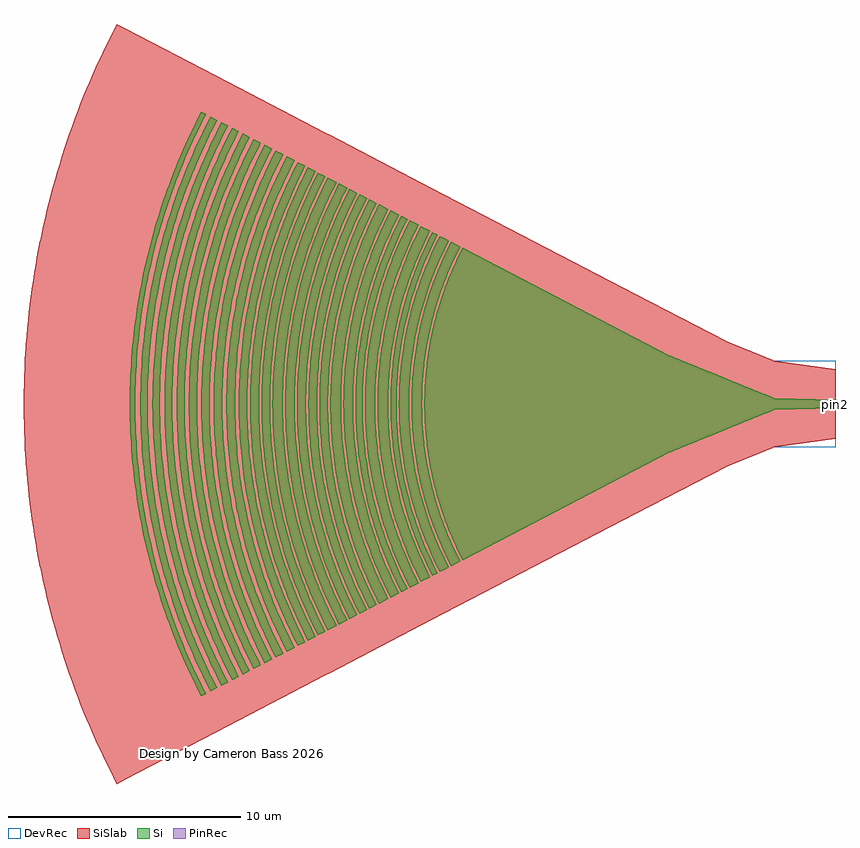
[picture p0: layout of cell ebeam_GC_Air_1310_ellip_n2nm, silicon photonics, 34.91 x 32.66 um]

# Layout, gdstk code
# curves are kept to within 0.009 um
import gdstk
lib = gdstk.Library(unit=1e-6, precision=1e-09)
def P(c, l, *ps):  # polygons
    for p in ps: c.add(gdstk.Polygon(p, *l))
Si = (1, 0)
PinRec = (1, 10)
SiSlab = (2, 0)
DevRec = (68, 0)

ebeam_gc_air_1310_ellip_ = lib.new_cell('ebeam_GC_Air_1310_ellip_n2nm')
P(ebeam_gc_air_1310_ellip_, Si, [(-16.047,-6.713),(-16.408,-5.968),(-16.782,-5.052),(-17.011,-4.383),(-17.276,-3.431),(-17.452,-2.601),(-17.579,-1.763),(-17.657,-0.918),(-17.685,-0.071),(-17.657,0.918),(-17.579,1.763),(-17.452,2.602),(-17.276,3.431),(-17.011,4.383),(-16.782,5.052),(-16.408,5.968),(-16.047,6.713),(-7.152,2.081),(-3.186,0.462),(-2.878,0.348),(-2.693,0.26),(-2.649,0.248),(0,0.175),(0,-0.175),(-2.678,-0.255),(-2.847,-0.335),(-3.201,-0.468),(-7.124,-2.068)],
  [(-16.539,-6.968),(-16.911,-6.198),(-17.248,-5.384),(-17.537,-4.552),(-17.777,-3.706),(-17.968,-2.846),(-18.108,-1.976),(-18.207,-0.954),(-18.237,-0.073),(-18.216,0.807),(-18.126,1.831),(-17.995,2.702),(-17.812,3.563),(-17.703,3.989),(-17.537,4.552),(-17.248,5.384),(-16.911,6.198),(-16.539,6.969),(-16.14,6.761),(-16.503,6.011),(-16.83,5.222),(-17.11,4.416),(-17.343,3.593),(-17.554,2.62),(-17.682,1.775),(-17.769,0.783),(-17.789,0.071),(-17.769,-0.783),(-17.682,-1.775),(-17.554,-2.619),(-17.377,-3.455),(-17.152,-4.28),(-16.88,-5.089),(-16.503,-6.011),(-16.14,-6.761)],
  [(-17.02,-7.219),(-17.405,-6.422),(-17.754,-5.579),(-18.053,-4.717),(-18.302,-3.839),(-18.499,-2.949),(-18.644,-2.048),(-18.737,-1.14),(-18.764,-0.684),(-18.778,-0.076),(-18.756,0.836),(-18.681,1.746),(-18.624,2.199),(-18.527,2.799),(-18.338,3.692),(-18.184,4.28),(-18.053,4.717),(-17.754,5.579),(-17.405,6.422),(-17.02,7.219),(-16.631,7.017),(-17.066,6.106),(-17.397,5.284),(-17.68,4.443),(-17.914,3.587),(-18.097,2.72),(-18.23,1.843),(-18.311,0.96),(-18.341,0.074),(-18.32,-0.812),(-18.23,-1.843),(-18.097,-2.72),(-17.914,-3.587),(-17.68,-4.443),(-17.397,-5.284),(-17.066,-6.106),(-16.631,-7.017)],
  [(-17.34,-7.386),(-17.734,-6.57),(-18.091,-5.708),(-18.397,-4.826),(-18.652,-3.928),(-18.854,-3.017),(-18.935,-2.557),(-19.022,-1.941),(-19.108,-1.011),(-19.139,-0.078),(-19.117,0.856),(-19.022,1.941),(-18.882,2.864),(-18.689,3.778),(-18.443,4.677),(-18.146,5.562),(-17.978,5.998),(-17.734,6.571),(-17.34,7.386),(-17.113,7.267),(-17.562,6.325),(-17.796,5.76),(-17.957,5.33),(-18.106,4.895),(-18.284,4.309),(-18.403,3.865),(-18.541,3.268),(-18.705,2.364),(-18.801,1.605),(-18.86,0.842),(-18.882,0.077),(-18.867,-0.689),(-18.816,-1.452),(-18.705,-2.364),(-18.572,-3.118),(-18.475,-3.567),(-18.325,-4.161),(-18.198,-4.603),(-18.008,-5.185),(-17.796,-5.759),(-17.562,-6.325),(-17.113,-7.267)],
  [(-17.836,-7.644),(-18.308,-6.653),(-18.669,-5.757),(-18.977,-4.841),(-19.231,-3.91),(-19.431,-2.964),(-19.575,-2.009),(-19.664,-1.046),(-19.697,-0.08),(-19.673,0.886),(-19.594,1.849),(-19.459,2.806),(-19.338,3.439),(-19.231,3.91),(-18.977,4.841),(-18.669,5.757),(-18.495,6.208),(-18.243,6.801),(-17.836,7.644),(-17.433,7.434),(-17.893,6.471),(-18.188,5.746),(-18.497,4.858),(-18.753,3.954),(-18.985,2.882),(-19.125,1.953),(-19.189,1.33),(-19.221,0.861),(-19.243,0.078),(-19.221,-0.861),(-19.189,-1.33),(-19.125,-1.953),(-18.985,-2.882),(-18.79,-3.801),(-18.543,-4.709),(-18.243,-5.599),(-17.893,-6.471),(-17.433,-7.434)],
  [(-18.316,-7.894),(-18.737,-7.022),(-18.997,-6.41),(-19.176,-5.945),(-19.495,-4.999),(-19.757,-4.037),(-19.963,-3.061),(-20.113,-2.074),(-20.204,-1.081),(-20.238,-0.083),(-20.214,0.915),(-20.132,1.909),(-19.992,2.897),(-19.796,3.876),(-19.633,4.52),(-19.495,4.999),(-19.176,5.945),(-18.997,6.41),(-18.737,7.023),(-18.316,7.894),(-17.93,7.693),(-18.34,6.844),(-18.532,6.398),(-18.768,5.794),(-19.078,4.873),(-19.334,3.934),(-19.535,2.982),(-19.68,2.021),(-19.77,1.053),(-19.803,0.081),(-19.779,-0.891),(-19.699,-1.86),(-19.563,-2.823),(-19.474,-3.301),(-19.334,-3.933),(-19.078,-4.872),(-18.768,-5.794),(-18.532,-6.397),(-18.34,-6.844),(-17.93,-7.693)],
  [(-18.678,-8.082),(-19.109,-7.189),(-19.5,-6.245),(-19.835,-5.28),(-20.027,-4.627),(-20.154,-4.133),(-20.365,-3.134),(-20.518,-2.123),(-20.612,-1.106),(-20.646,-0.085),(-20.622,0.936),(-20.538,1.955),(-20.395,2.966),(-20.267,3.635),(-20.154,4.133),(-20.027,4.627),(-19.835,5.28),(-19.5,6.245),(-19.109,7.189),(-18.678,8.082),(-18.409,7.943),(-18.693,7.37),(-18.9,6.913),(-19.156,6.295),(-19.332,5.825),(-19.495,5.35),(-19.689,4.71),(-19.819,4.224),(-19.97,3.572),(-20.149,2.584),(-20.254,1.754),(-20.319,0.92),(-20.343,0.084),(-20.319,-0.92),(-20.254,-1.754),(-20.149,-2.584),(-20.004,-3.408),(-19.898,-3.898),(-19.734,-4.548),(-19.546,-5.19),(-19.388,-5.667),(-19.156,-6.294),(-18.967,-6.759),(-18.693,-7.37),(-18.409,-7.942)],
  [(-19.136,-8.321),(-19.58,-7.402),(-19.855,-6.756),(-20.044,-6.266),(-20.379,-5.269),(-20.656,-4.255),(-20.873,-3.226),(-21.031,-2.186),(-21.127,-1.139),(-21.163,-0.088),(-21.153,0.614),(-21.127,1.139),(-21.031,2.186),(-20.873,3.226),(-20.656,4.255),(-20.379,5.269),(-20.044,6.266),(-19.651,7.242),(-19.434,7.72),(-19.136,8.321),(-18.772,8.131),(-19.206,7.233),(-19.474,6.602),(-19.658,6.123),(-19.986,5.149),(-20.257,4.157),(-20.469,3.152),(-20.623,2.136),(-20.717,1.113),(-20.752,0.086),(-20.727,-0.942),(-20.643,-1.966),(-20.499,-2.983),(-20.405,-3.488),(-20.257,-4.157),(-19.986,-5.149),(-19.658,-6.123),(-19.275,-7.076),(-19.063,-7.544),(-18.772,-8.131)],
  [(-19.635,-8.581),(-20.091,-7.635),(-20.506,-6.633),(-20.861,-5.608),(-21.157,-4.565),(-21.391,-3.506),(-21.564,-2.435),(-21.674,-1.355),(-21.705,-0.814),(-21.723,-0.09),(-21.697,0.994),(-21.607,2.076),(-21.456,3.15),(-21.32,3.86),(-21.2,4.39),(-20.915,5.435),(-20.691,6.123),(-20.506,6.633),(-20.091,7.635),(-19.635,8.581),(-19.23,8.37),(-19.676,7.445),(-20.081,6.468),(-20.261,5.971),(-20.48,5.301),(-20.716,4.45),(-20.944,3.418),(-21.113,2.374),(-21.191,1.673),(-21.232,1.145),(-21.268,0.088),(-21.263,-0.441),(-21.232,-1.145),(-21.135,-2.198),(-20.977,-3.244),(-20.758,-4.279),(-20.48,-5.3),(-20.261,-5.971),(-20.081,-6.468),(-19.676,-7.445),(-19.23,-8.37)],
  [(-20.05,-8.797),(-20.519,-7.825),(-20.944,-6.798),(-21.309,-5.747),(-21.468,-5.215),(-21.656,-4.499),(-21.886,-3.411),(-22.052,-2.311),(-22.154,-1.204),(-22.192,-0.093),(-22.165,1.019),(-22.074,2.127),(-22.004,2.679),(-21.886,3.411),(-21.656,4.499),(-21.468,5.215),(-21.309,5.747),(-20.944,6.798),(-20.519,7.825),(-20.05,8.797),(-19.732,8.631),(-19.961,8.173),(-20.265,7.513),(-20.476,7.01),(-20.734,6.33),(-20.966,5.641),(-21.171,4.943),(-21.348,4.237),(-21.464,3.703),(-21.621,2.808),(-21.735,1.906),(-21.806,1),(-21.832,0.091),(-21.822,-0.636),(-21.753,-1.725),(-21.648,-2.628),(-21.464,-3.703),(-21.348,-4.236),(-21.171,-4.943),(-20.966,-5.64),(-20.734,-6.33),(-20.476,-7.009),(-20.265,-7.512),(-19.961,-8.173),(-19.732,-8.631)],
  [(-20.47,-9.016),(-20.952,-8.018),(-21.388,-6.965),(-21.761,-5.889),(-22.072,-4.793),(-22.203,-4.239),(-22.353,-3.495),(-22.523,-2.368),(-22.628,-1.234),(-22.667,-0.095),(-22.639,1.044),(-22.545,2.18),(-22.386,3.308),(-22.282,3.868),(-22.117,4.61),(-21.925,5.343),(-21.761,5.889),(-21.388,6.965),(-20.952,8.018),(-20.47,9.016),(-20.144,8.846),(-20.46,8.207),(-20.765,7.527),(-21.043,6.836),(-21.234,6.31),(-21.409,5.78),(-21.619,5.065),(-21.802,4.341),(-21.92,3.795),(-22.081,2.877),(-22.198,1.953),(-22.27,1.024),(-22.297,0.093),(-22.279,-0.838),(-22.216,-1.768),(-22.108,-2.693),(-21.92,-3.795),(-21.802,-4.341),(-21.619,-5.065),(-21.409,-5.78),(-21.234,-6.31),(-20.976,-7.009),(-20.765,-7.527),(-20.46,-8.207),(-20.144,-8.846)],
  [(-20.905,-9.242),(-21.4,-8.216),(-21.846,-7.138),(-22.229,-6.035),(-22.548,-4.912),(-22.682,-4.344),(-22.836,-3.581),(-23.011,-2.427),(-23.118,-1.264),(-23.157,-0.097),(-23.152,0.487),(-23.118,1.264),(-23.011,2.427),(-22.836,3.582),(-22.594,4.724),(-22.287,5.849),(-21.915,6.956),(-21.479,8.039),(-21.237,8.57),(-20.905,9.242),(-20.568,9.066),(-20.894,8.408),(-21.206,7.711),(-21.491,7.003),(-21.687,6.465),(-21.867,5.921),(-22.082,5.189),(-22.225,4.633),(-22.39,3.888),(-22.555,2.948),(-22.675,2.001),(-22.749,1.05),(-22.777,0.096),(-22.758,-0.859),(-22.694,-1.811),(-22.583,-2.759),(-22.39,-3.888),(-22.225,-4.633),(-22.082,-5.189),(-21.867,-5.921),(-21.687,-6.465),(-21.491,-7.003),(-21.206,-7.711),(-20.894,-8.408),(-20.568,-9.066)],
  [(-21.356,-9.477),(-21.697,-8.789),(-21.944,-8.243),(-22.176,-7.691),(-22.391,-7.133),(-22.773,-5.998),(-23.088,-4.844),(-23.336,-3.673),(-23.515,-2.489),(-23.625,-1.296),(-23.665,-0.1),(-23.66,0.499),(-23.625,1.297),(-23.515,2.489),(-23.336,3.673),(-23.088,4.844),(-22.773,5.998),(-22.391,7.133),(-22.176,7.692),(-21.944,8.244),(-21.697,8.789),(-21.356,9.477),(-20.998,9.29),(-21.496,8.26),(-21.945,7.176),(-22.33,6.067),(-22.498,5.505),(-22.696,4.747),(-22.939,3.599),(-23.115,2.439),(-23.222,1.271),(-23.251,0.685),(-23.262,0.098),(-23.243,-0.88),(-23.177,-1.856),(-23.064,-2.827),(-22.866,-3.983),(-22.696,-4.747),(-22.498,-5.505),(-22.33,-6.067),(-22.08,-6.809),(-21.802,-7.54),(-21.575,-8.081),(-21.332,-8.615),(-20.998,-9.29)],
  [(-21.844,-9.73),(-22.104,-9.211),(-22.446,-8.466),(-22.684,-7.899),(-22.905,-7.325),(-23.11,-6.746),(-23.297,-6.16),(-23.468,-5.569),(-23.621,-4.975),(-23.757,-4.375),(-23.875,-3.772),(-23.976,-3.165),(-24.059,-2.556),(-24.172,-1.331),(-24.202,-0.717),(-24.213,-0.102),(-24.184,1.127),(-24.083,2.353),(-23.976,3.165),(-23.875,3.772),(-23.757,4.375),(-23.621,4.975),(-23.468,5.57),(-23.297,6.16),(-23.11,6.746),(-22.905,7.326),(-22.684,7.899),(-22.446,8.466),(-22.104,9.211),(-21.844,9.731),(-21.449,9.525),(-21.959,8.469),(-22.419,7.358),(-22.814,6.221),(-23.142,5.063),(-23.281,4.477),(-23.402,3.888),(-23.594,2.7),(-23.716,1.503),(-23.751,0.902),(-23.77,0.1),(-23.741,-1.103),(-23.683,-1.903),(-23.619,-2.501),(-23.439,-3.691),(-23.19,-4.868),(-22.873,-6.03),(-22.49,-7.17),(-22.04,-8.286),(-21.792,-8.834),(-21.449,-9.525)],
  [(-22.258,-9.946),(-22.789,-8.844),(-23.038,-8.267),(-23.27,-7.683),(-23.484,-7.093),(-23.744,-6.296),(-24.075,-5.085),(-24.334,-3.855),(-24.437,-3.235),(-24.522,-2.612),(-24.589,-1.987),(-24.638,-1.361),(-24.68,-0.105),(-24.674,0.524),(-24.65,1.152),(-24.547,2.404),(-24.468,3.028),(-24.371,3.649),(-24.256,4.267),(-24.075,5.085),(-23.744,6.296),(-23.552,6.895),(-23.27,7.683),(-23.038,8.268),(-22.789,8.845),(-22.258,9.946),(-21.937,9.779),(-22.287,9.071),(-22.542,8.509),(-22.857,7.748),(-23.074,7.169),(-23.274,6.585),(-23.513,5.797),(-23.673,5.199),(-23.859,4.396),(-23.978,3.79),(-24.079,3.18),(-24.208,2.159),(-24.288,1.132),(-24.318,0.103),(-24.312,-0.515),(-24.288,-1.132),(-24.208,-2.159),(-24.079,-3.18),(-23.978,-3.79),(-23.859,-4.396),(-23.673,-5.199),(-23.513,-5.796),(-23.274,-6.584),(-23.074,-7.169),(-22.781,-7.939),(-22.542,-8.508),(-22.287,-9.071),(-21.937,-9.779)],
  [(-22.692,-10.172),(-22.966,-9.626),(-23.237,-9.043),(-23.492,-8.453),(-23.729,-7.856),(-23.948,-7.252),(-24.15,-6.642),(-24.392,-5.82),(-24.552,-5.199),(-24.694,-4.572),(-24.817,-3.942),(-24.923,-3.308),(-25.01,-2.671),(-25.078,-2.032),(-25.128,-1.391),(-25.159,-0.75),(-25.171,-0.107),(-25.165,0.536),(-25.14,1.178),(-25.097,1.819),(-25.035,2.458),(-24.954,3.096),(-24.855,3.731),(-24.694,4.572),(-24.552,5.199),(-24.392,5.82),(-24.213,6.438),(-24.017,7.05),(-23.804,7.656),(-23.573,8.255),(-23.324,8.848),(-22.966,9.626),(-22.692,10.172),(-22.354,9.996),(-22.713,9.271),(-22.974,8.696),(-23.296,7.918),(-23.517,7.327),(-23.786,6.529),(-23.966,5.924),(-24.13,5.313),(-24.32,4.493),(-24.512,3.459),(-24.655,2.416),(-24.746,1.367),(-24.777,0.737),(-24.789,0.105),(-24.769,-0.947),(-24.732,-1.577),(-24.677,-2.206),(-24.545,-3.25),(-24.32,-4.493),(-24.13,-5.313),(-23.966,-5.924),(-23.786,-6.529),(-23.517,-7.327),(-23.296,-7.918),(-22.974,-8.696),(-22.713,-9.271),(-22.354,-9.996)],
  [(-23.124,-10.397),(-23.407,-9.833),(-23.684,-9.238),(-23.944,-8.635),(-24.187,-8.025),(-24.411,-7.408),(-24.618,-6.785),(-24.806,-6.156),(-24.976,-5.522),(-25.127,-4.885),(-25.26,-4.242),(-25.374,-3.595),(-25.469,-2.946),(-25.545,-2.294),(-25.617,-1.421),(-25.649,-0.766),(-25.661,-0.109),(-25.655,0.547),(-25.63,1.203),(-25.585,1.858),(-25.522,2.511),(-25.439,3.163),(-25.3,4.027),(-25.173,4.671),(-25.028,5.311),(-24.864,5.946),(-24.682,6.576),(-24.482,7.202),(-24.264,7.821),(-24.027,8.433),(-23.773,9.038),(-23.502,9.636),(-23.124,10.397),(-22.802,10.23),(-23.171,9.483),(-23.524,8.698),(-23.768,8.1),(-23.994,7.495),(-24.269,6.679),(-24.454,6.06),(-24.673,5.226),(-24.816,4.596),(-25.013,3.538),(-25.106,2.899),(-25.181,2.257),(-25.264,1.184),(-25.296,0.108),(-25.275,-0.969),(-25.181,-2.257),(-25.013,-3.538),(-24.816,-4.596),(-24.673,-5.226),(-24.454,-6.06),(-24.269,-6.679),(-23.994,-7.495),(-23.768,-8.1),(-23.438,-8.895),(-23.171,-9.483),(-22.802,-10.229)],
  [(-23.593,-10.642),(-23.886,-10.058),(-24.17,-9.45),(-24.436,-8.833),(-24.684,-8.209),(-24.914,-7.578),(-25.125,-6.941),(-25.318,-6.297),(-25.492,-5.65),(-25.647,-4.996),(-25.782,-4.339),(-25.934,-3.456),(-26.025,-2.791),(-26.096,-2.123),(-26.148,-1.454),(-26.181,-0.783),(-26.194,-0.112),(-26.187,0.56),(-26.161,1.231),(-26.116,1.901),(-26.051,2.569),(-25.966,3.235),(-25.862,3.899),(-25.694,4.778),(-25.545,5.433),(-25.378,6.082),(-25.191,6.727),(-24.986,7.367),(-24.763,8),(-24.521,8.626),(-24.261,9.245),(-23.983,9.857),(-23.593,10.642),(-23.26,10.468),(-23.641,9.699),(-23.914,9.098),(-24.17,8.489),(-24.483,7.666),(-24.697,7.041),(-24.954,6.198),(-25.125,5.56),(-25.324,4.701),(-25.526,3.618),(-25.675,2.527),(-25.738,1.87),(-25.783,1.211),(-25.815,0.11),(-25.794,-0.991),(-25.756,-1.65),(-25.698,-2.308),(-25.56,-3.401),(-25.451,-4.052),(-25.324,-4.701),(-25.178,-5.345),(-24.954,-6.198),(-24.697,-7.04),(-24.483,-7.665),(-24.17,-8.489),(-23.914,-9.098),(-23.641,-9.699),(-23.26,-10.468)],
  [(-24.076,-10.893),(-24.379,-10.29),(-24.669,-9.667),(-24.942,-9.036),(-25.196,-8.398),(-25.431,-7.753),(-25.715,-6.882),(-25.906,-6.222),(-26.077,-5.558),(-26.229,-4.888),(-26.362,-4.214),(-26.475,-3.536),(-26.568,-2.855),(-26.641,-2.172),(-26.694,-1.487),(-26.728,-0.801),(-26.741,-0.114),(-26.734,0.573),(-26.708,1.259),(-26.661,1.944),(-26.568,2.856),(-26.475,3.536),(-26.362,4.214),(-26.229,4.888),(-26.077,5.558),(-25.906,6.222),(-25.715,6.882),(-25.431,7.753),(-25.196,8.398),(-24.942,9.037),(-24.669,9.667),(-24.379,10.29),(-24.076,10.893),(-23.748,10.722),(-24.141,9.929),(-24.421,9.313),(-24.767,8.48),(-25.004,7.847),(-25.292,6.992),(-25.486,6.344),(-25.716,5.471),(-25.865,4.812),(-26.072,3.704),(-26.225,2.587),(-26.323,1.464),(-26.356,0.789),(-26.369,0.113),(-26.347,-1.014),(-26.307,-1.689),(-26.249,-2.363),(-26.107,-3.481),(-25.996,-4.148),(-25.865,-4.812),(-25.716,-5.471),(-25.486,-6.344),(-25.292,-6.992),(-25.004,-7.847),(-24.767,-8.48),(-24.421,-9.313),(-24.044,-10.132),(-23.748,-10.722)],
  [(-24.546,-11.138),(-24.858,-10.518),(-25.155,-9.881),(-25.434,-9.236),(-25.693,-8.584),(-25.934,-7.924),(-26.155,-7.258),(-26.419,-6.36),(-26.595,-5.681),(-26.75,-4.996),(-26.886,-4.307),(-27.001,-3.614),(-27.096,-2.919),(-27.171,-2.22),(-27.226,-1.52),(-27.26,-0.819),(-27.273,-0.117),(-27.26,0.819),(-27.226,1.521),(-27.171,2.221),(-27.096,2.919),(-27.001,3.614),(-26.886,4.307),(-26.75,4.996),(-26.595,5.681),(-26.419,6.36),(-26.155,7.258),(-25.934,7.924),(-25.693,8.584),(-25.434,9.237),(-25.155,9.881),(-24.858,10.518),(-24.546,11.138),(-24.229,10.973),(-24.635,10.156),(-24.922,9.526),(-25.19,8.888),(-25.518,8.026),(-25.813,7.152),(-26.011,6.49),(-26.191,5.82),(-26.399,4.922),(-26.611,3.789),(-26.767,2.646),(-26.868,1.498),(-26.901,0.807),(-26.914,0.115),(-26.908,-0.576),(-26.881,-1.268),(-26.791,-2.417),(-26.711,-3.104),(-26.611,-3.789),(-26.399,-4.922),(-26.191,-5.82),(-26.011,-6.489),(-25.813,-7.152),(-25.518,-8.026),(-25.19,-8.888),(-24.922,-9.526),(-24.635,-10.156),(-24.229,-10.973)],
  [(-25.019,-11.384),(-25.339,-10.748),(-25.643,-10.098),(-25.927,-9.439),(-26.193,-8.772),(-26.438,-8.098),(-26.664,-7.417),(-26.871,-6.729),(-27.057,-6.036),(-27.222,-5.339),(-27.368,-4.636),(-27.492,-3.93),(-27.597,-3.22),(-27.68,-2.507),(-27.743,-1.792),(-27.794,-0.837),(-27.808,-0.12),(-27.801,0.598),(-27.773,1.315),(-27.724,2.031),(-27.655,2.745),(-27.564,3.457),(-27.412,4.401),(-27.273,5.106),(-27.114,5.805),(-26.935,6.499),(-26.735,7.189),(-26.516,7.872),(-26.193,8.772),(-25.927,9.439),(-25.643,10.098),(-25.339,10.748),(-25.019,11.384),(-24.709,11.223),(-25.126,10.384),(-25.419,9.74),(-25.693,9.088),(-26.029,8.207),(-26.258,7.538),(-26.533,6.636),(-26.717,5.951),(-26.93,5.033),(-27.146,3.874),(-27.306,2.706),(-27.375,2.002),(-27.423,1.296),(-27.457,0.118),(-27.45,-0.589),(-27.423,-1.296),(-27.331,-2.471),(-27.183,-3.641),(-27.067,-4.339),(-26.93,-5.033),(-26.717,-5.951),(-26.533,-6.635),(-26.258,-7.538),(-26.029,-8.207),(-25.693,-9.088),(-25.419,-9.74),(-25.024,-10.597),(-24.709,-11.222)],
  [(-25.481,-11.624),(-25.808,-10.974),(-26.118,-10.31),(-26.408,-9.637),(-26.679,-8.956),(-26.93,-8.268),(-27.161,-7.573),(-27.372,-6.871),(-27.562,-6.164),(-27.783,-5.213),(-27.924,-4.494),(-28.045,-3.771),(-28.144,-3.045),(-28.222,-2.317),(-28.279,-1.586),(-28.314,-0.855),(-28.329,-0.122),(-28.314,0.855),(-28.279,1.586),(-28.222,2.317),(-28.144,3.045),(-28.045,3.771),(-27.924,4.494),(-27.783,5.213),(-27.62,5.927),(-27.437,6.636),(-27.234,7.339),(-27.01,8.037),(-26.765,8.728),(-26.501,9.411),(-26.217,10.087),(-25.808,10.974),(-25.481,11.624),(-25.183,11.469),(-25.61,10.611),(-25.909,9.953),(-26.279,9.063),(-26.533,8.386),(-26.841,7.473),(-27.048,6.781),(-27.236,6.081),(-27.403,5.378),(-27.549,4.67),(-27.675,3.959),(-27.838,2.765),(-27.908,2.046),(-27.957,1.325),(-27.992,0.121),(-27.969,-1.084),(-27.927,-1.805),(-27.864,-2.525),(-27.78,-3.243),(-27.675,-3.958),(-27.454,-5.142),(-27.294,-5.847),(-27.048,-6.78),(-26.841,-7.473),(-26.533,-8.386),(-26.279,-9.063),(-25.909,-9.953),(-25.61,-10.611),(-25.183,-11.469)],
  [(-25.946,-11.866),(-26.28,-11.202),(-26.597,-10.524),(-26.893,-9.838),(-27.17,-9.143),(-27.426,-8.44),(-27.662,-7.73),(-27.877,-7.014),(-28.071,-6.291),(-28.296,-5.321),(-28.441,-4.587),(-28.563,-3.849),(-28.665,-3.108),(-28.745,-2.365),(-28.803,-1.619),(-28.839,-0.872),(-28.853,-0.125),(-28.839,0.872),(-28.803,1.619),(-28.745,2.365),(-28.665,3.109),(-28.563,3.85),(-28.441,4.587),(-28.296,5.321),(-28.13,6.05),(-27.944,6.774),(-27.736,7.492),(-27.507,8.204),(-27.258,8.909),(-26.988,9.607),(-26.597,10.524),(-26.28,11.202),(-25.946,11.867),(-25.653,11.714),(-25.983,11.059),(-26.395,10.165),(-26.681,9.484),(-27.032,8.564),(-27.271,7.866),(-27.559,6.925),(-27.75,6.211),(-27.973,5.252),(-28.198,4.043),(-28.365,2.824),(-28.437,2.089),(-28.487,1.353),(-28.523,0.123),(-28.515,-0.615),(-28.487,-1.353),(-28.391,-2.579),(-28.236,-3.799),(-28.115,-4.527),(-27.973,-5.252),(-27.809,-5.972),(-27.559,-6.924),(-27.271,-7.866),(-27.032,-8.564),(-26.681,-9.484),(-26.395,-10.164),(-25.983,-11.058),(-25.653,-11.714)],
  [(-26.405,-12.105),(-26.746,-11.427),(-27.069,-10.736),(-27.371,-10.035),(-27.653,-9.326),(-27.915,-8.609),(-28.155,-7.885),(-28.374,-7.154),(-28.572,-6.419),(-28.748,-5.676),(-28.903,-4.929),(-29.036,-4.178),(-29.146,-3.423),(-29.235,-2.665),(-29.302,-1.905),(-29.356,-0.89),(-29.371,-0.127),(-29.363,0.636),(-29.334,1.398),(-29.282,2.159),(-29.208,2.919),(-29.112,3.675),(-28.95,4.679),(-28.802,5.428),(-28.633,6.172),(-28.443,6.91),(-28.231,7.643),(-27.997,8.369),(-27.743,9.088),(-27.468,9.8),(-27.069,10.736),(-26.746,11.427),(-26.405,12.105),(-26.122,11.958),(-26.459,11.289),(-26.778,10.606),(-27.077,9.914),(-27.444,8.979),(-27.695,8.268),(-27.998,7.31),(-28.263,6.34),(-28.437,5.607),(-28.59,4.869),(-28.721,4.127),(-28.891,2.883),(-29.001,1.632),(-29.037,0.879),(-29.052,0.126),(-29.044,-0.628),(-29.015,-1.381),(-28.918,-2.633),(-28.83,-3.381),(-28.721,-4.127),(-28.59,-4.869),(-28.437,-5.607),(-28.263,-6.34),(-27.998,-7.31),(-27.695,-8.268),(-27.444,-8.978),(-27.077,-9.914),(-26.778,-10.606),(-26.459,-11.288),(-26.122,-11.958)],
  [(-26.875,-12.35),(-27.328,-11.438),(-27.65,-10.729),(-27.952,-10.01),(-28.233,-9.283),(-28.492,-8.549),(-28.73,-7.807),(-28.946,-7.058),(-29.141,-6.304),(-29.313,-5.544),(-29.463,-4.78),(-29.591,-4.011),(-29.697,-3.239),(-29.779,-2.464),(-29.84,-1.687),(-29.878,-0.909),(-29.893,-0.13),(-29.878,0.909),(-29.84,1.687),(-29.779,2.464),(-29.697,3.239),(-29.591,4.011),(-29.463,4.78),(-29.313,5.545),(-29.141,6.304),(-28.946,7.058),(-28.73,7.807),(-28.492,8.549),(-28.233,9.284),(-27.952,10.01),(-27.65,10.729),(-27.328,11.438),(-26.875,12.351),(-26.589,12.202),(-27.044,11.287),(-27.363,10.587),(-27.756,9.64),(-28.026,8.92),(-28.275,8.193),(-28.503,7.458),(-28.71,6.718),(-28.951,5.721),(-29.199,4.463),(-29.318,3.704),(-29.415,2.941),(-29.489,2.176),(-29.541,1.409),(-29.579,0.128),(-29.554,-1.153),(-29.509,-1.92),(-29.442,-2.686),(-29.281,-3.957),(-29.154,-4.716),(-29.006,-5.47),(-28.774,-6.468),(-28.574,-7.212),(-28.354,-7.949),(-28.026,-8.92),(-27.756,-9.64),(-27.363,-10.587),(-27.044,-11.287),(-26.589,-12.201)],
  [(-27.273,-12.558),(-27.627,-11.852),(-27.962,-11.135),(-28.275,-10.409),(-28.567,-9.673),(-28.824,-8.971),(-29.087,-8.179),(-29.314,-7.421),(-29.519,-6.657),(-29.701,-5.888),(-29.861,-5.113),(-29.999,-4.333),(-30.114,-3.551),(-30.231,-2.502),(-30.287,-1.794),(-30.331,-0.923),(-30.346,-0.132),(-30.338,0.659),(-30.308,1.45),(-30.254,2.24),(-30.147,3.289),(-30.04,4.073),(-29.91,4.854),(-29.757,5.63),(-29.582,6.402),(-29.385,7.167),(-29.165,7.927),(-28.924,8.681),(-28.66,9.427),(-28.375,10.165),(-27.962,11.136),(-27.627,11.853),(-27.273,12.558),(-27.068,12.451),(-27.411,11.767),(-27.743,11.056),(-28.153,10.092),(-28.436,9.359),(-28.698,8.619),(-28.938,7.871),(-29.224,6.863),(-29.412,6.1),(-29.677,4.818),(-29.806,4.043),(-29.912,3.265),(-29.996,2.484),(-30.057,1.701),(-30.095,0.916),(-30.11,0.131),(-30.085,-1.178),(-30.039,-1.962),(-29.97,-2.744),(-29.879,-3.524),(-29.765,-4.302),(-29.629,-5.075),(-29.47,-5.844),(-29.289,-6.609),(-29.086,-7.368),(-28.86,-8.121),(-28.526,-9.113),(-28.25,-9.849),(-27.849,-10.816),(-27.524,-11.531),(-27.068,-12.451)])
P(ebeam_gc_air_1310_ellip_, SiSlab, [(-30.904,-16.329),(-31.366,-15.41),(-31.801,-14.477),(-32.208,-13.533),(-32.588,-12.577),(-32.94,-11.61),(-33.264,-10.634),(-33.559,-9.648),(-33.825,-8.655),(-34.062,-7.654),(-34.27,-6.647),(-34.449,-5.634),(-34.598,-4.616),(-34.717,-3.594),(-34.807,-2.569),(-34.867,-1.543),(-34.9,-0.171),(-34.89,0.857),(-34.85,1.885),(-34.781,2.912),(-34.681,3.935),(-34.552,4.956),(-34.393,5.972),(-34.135,7.319),(-33.907,8.322),(-33.651,9.318),(-33.365,10.307),(-33.051,11.286),(-32.709,12.256),(-32.338,13.216),(-31.94,14.164),(-31.366,15.41),(-30.904,16.329),(-4.744,2.708),(-2.65,1.855),(0,1.5),(0,-1.5),(-2.65,-1.855),(-4.728,-2.7)])
P(ebeam_gc_air_1310_ellip_, DevRec, [(-30.904,-16.329),(-31.366,-15.41),(-31.801,-14.477),(-32.208,-13.533),(-32.588,-12.577),(-32.94,-11.61),(-33.264,-10.634),(-33.559,-9.648),(-33.825,-8.655),(-34.062,-7.654),(-34.27,-6.647),(-34.449,-5.634),(-34.598,-4.616),(-34.717,-3.594),(-34.807,-2.569),(-34.867,-1.543),(-34.9,-0.171),(-34.89,0.857),(-34.85,1.885),(-34.781,2.912),(-34.681,3.935),(-34.552,4.956),(-34.393,5.972),(-34.135,7.319),(-33.907,8.322),(-33.651,9.318),(-33.365,10.307),(-33.051,11.286),(-32.709,12.256),(-32.338,13.216),(-31.94,14.164),(-31.366,15.41),(-30.904,16.329),(-4.744,2.708),(-2.65,1.855),(0,1.855),(0,-1.855),(-2.65,-1.855),(-4.728,-2.7)])
ebeam_gc_air_1310_ellip_.add(gdstk.FlexPath([(-0.01,0),(0.01,0)], 0.35, ends="flush", simple_path=True, layer=1, datatype=10))  # PinRec
ebeam_gc_air_1310_ellip_.add(gdstk.Label('pin2', (0,0), layer=1, texttype=10))
ebeam_gc_air_1310_ellip_.add(gdstk.Label('Design by Cameron Bass 2026', (-25.94,-15.02), layer=10, texttype=0))

lib.write_gds('ebeam_GC_Air_1310_ellip_n2nm.gds')
